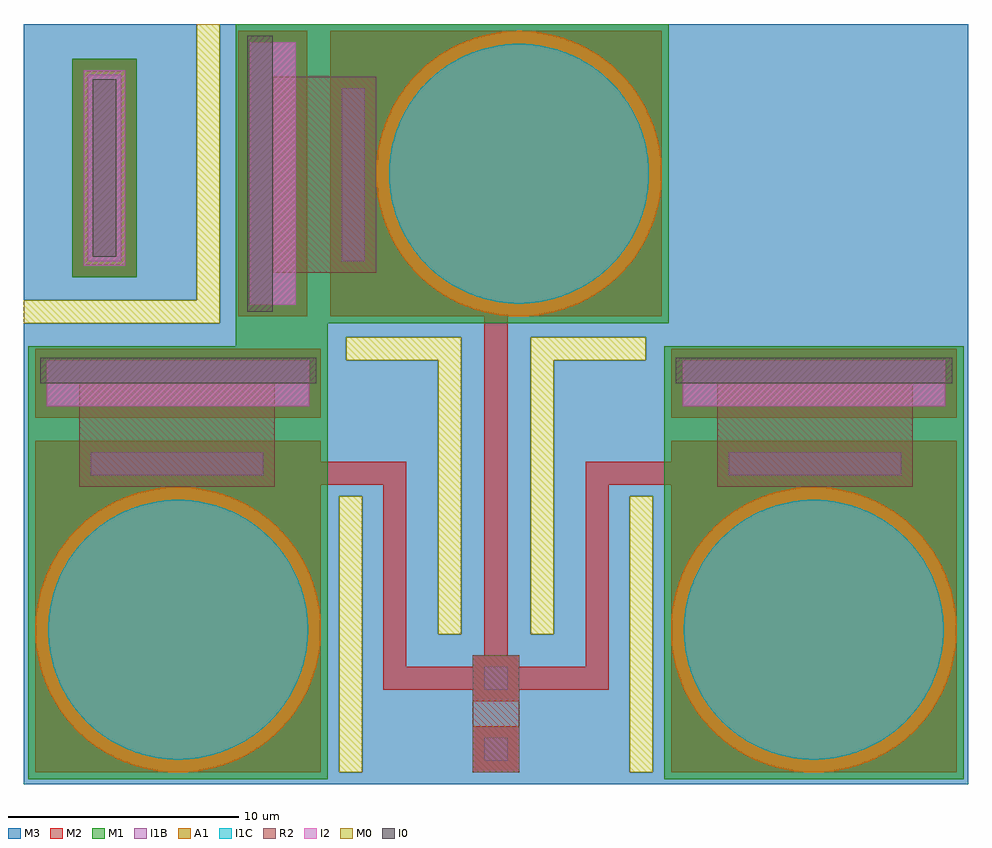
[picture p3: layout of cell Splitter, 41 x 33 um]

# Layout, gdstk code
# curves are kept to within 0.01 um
from math import pi, radians
import gdstk
lib = gdstk.Library(unit=1e-6, precision=1e-09)
def R(c, l, rs):  # rectangles x0, y0, x1, y1
    for r in rs: c.add(gdstk.rectangle(r[:2], r[2:], *l))
def P(c, l, *ps):  # polygons
    for p in ps: c.add(gdstk.Polygon(p, *l))
M1 = (1, 0)
I1B = (3, 0)
I1C = (4, 0)
A1 = (5, 0)
M2 = (6, 0)
I2 = (8, 0)
R2 = (9, 0)
M3 = (10, 0)
M0 = (30, 0)
I0 = (31, 0)

ak_qc1vm2r2_1 = lib.new_cell('ak_qc1vm2r2$1')
R(ak_qc1vm2r2_1, I1B, [(-0.5,-0.5,0.5,0.5)])
R(ak_qc1vm2r2_1, M2, [(-1,-1,1,1)])
R(ak_qc1vm2r2_1, R2, [(-1,-1,1,1)])

ak_qc1p2j000_1 = lib.new_cell('ak_qc1p2j000$1')
P(ak_qc1p2j000_1, I1B, [(0,-5.6),(-0.585,-5.569),(-1.164,-5.478),(-1.73,-5.326),(-2.188,-5.155),(-2.629,-4.945),(-3.131,-4.643),(-3.6,-4.29),(-3.96,-3.96),(-4.29,-3.6),(-4.643,-3.131),(-4.945,-2.629),(-5.155,-2.188),(-5.326,-1.73),(-5.478,-1.164),(-5.569,-0.585),(-5.6,0),(-5.569,0.585),(-5.478,1.164),(-5.326,1.73),(-5.155,2.188),(-4.945,2.629),(-4.643,3.131),(-4.29,3.6),(-3.96,3.96),(-3.6,4.29),(-3.131,4.643),(-2.629,4.945),(-2.188,5.155),(-1.73,5.326),(-1.164,5.478),(-0.585,5.569),(0,5.6),(0.585,5.569),(1.164,5.478),(1.73,5.326),(2.188,5.155),(2.629,4.945),(3.131,4.643),(3.6,4.29),(3.96,3.96),(4.29,3.6),(4.643,3.131),(4.945,2.629),(5.155,2.188),(5.326,1.73),(5.478,1.164),(5.569,0.585),(5.6,0),(5.569,-0.585),(5.478,-1.164),(5.326,-1.73),(5.155,-2.188),(4.945,-2.629),(4.643,-3.131),(4.29,-3.6),(3.96,-3.96),(3.6,-4.29),(3.131,-4.643),(2.629,-4.945),(2.188,-5.155),(1.73,-5.326),(1.164,-5.478),(0.585,-5.569)])
P(ak_qc1p2j000_1, I1C, [(0,-5.642),(-0.59,-5.611),(-1.077,-5.538),(-1.65,-5.395),(-2.113,-5.231),(-2.561,-5.027),(-3.073,-4.732),(-3.551,-4.385),(-3.989,-3.989),(-4.385,-3.551),(-4.732,-3.073),(-5.027,-2.561),(-5.231,-2.113),(-5.395,-1.65),(-5.538,-1.077),(-5.611,-0.59),(-5.642,0),(-5.611,0.59),(-5.538,1.077),(-5.395,1.65),(-5.231,2.113),(-5.027,2.561),(-4.732,3.073),(-4.385,3.551),(-3.989,3.989),(-3.551,4.385),(-3.073,4.732),(-2.561,5.027),(-2.113,5.231),(-1.65,5.395),(-1.077,5.538),(-0.59,5.611),(0,5.642),(0.59,5.611),(1.077,5.538),(1.65,5.395),(2.113,5.231),(2.561,5.027),(3.073,4.732),(3.551,4.385),(3.989,3.989),(4.385,3.551),(4.732,3.073),(5.027,2.561),(5.231,2.113),(5.395,1.65),(5.538,1.077),(5.611,0.59),(5.642,0),(5.611,-0.59),(5.538,-1.077),(5.395,-1.65),(5.231,-2.113),(5.027,-2.561),(4.732,-3.073),(4.385,-3.551),(3.989,-3.989),(3.551,-4.385),(3.073,-4.732),(2.561,-5.027),(2.113,-5.231),(1.65,-5.395),(1.077,-5.538),(0.59,-5.611)])
P(ak_qc1p2j000_1, A1, [(0,-6.2),(-0.648,-6.166),(-1.183,-6.086),(-1.709,-5.96),(-2.323,-5.749),(-2.911,-5.474),(-3.377,-5.2),(-3.902,-4.818),(-4.384,-4.384),(-4.818,-3.902),(-5.2,-3.377),(-5.474,-2.911),(-5.749,-2.323),(-5.96,-1.709),(-6.086,-1.183),(-6.166,-0.648),(-6.2,0),(-6.166,0.648),(-6.086,1.183),(-5.96,1.709),(-5.749,2.323),(-5.474,2.911),(-5.2,3.377),(-4.818,3.902),(-4.384,4.384),(-3.902,4.818),(-3.377,5.2),(-2.911,5.474),(-2.323,5.749),(-1.709,5.96),(-1.183,6.086),(-0.648,6.166),(0,6.2),(0.648,6.166),(1.183,6.086),(1.709,5.96),(2.323,5.749),(2.911,5.474),(3.377,5.2),(3.902,4.818),(4.384,4.384),(4.818,3.902),(5.2,3.377),(5.474,2.911),(5.749,2.323),(5.96,1.709),(6.086,1.183),(6.166,0.648),(6.2,0),(6.166,-0.648),(6.086,-1.183),(5.96,-1.709),(5.749,-2.323),(5.474,-2.911),(5.2,-3.377),(4.818,-3.902),(4.384,-4.384),(3.902,-4.818),(3.377,-5.2),(2.911,-5.474),(2.323,-5.749),(1.709,-5.96),(1.183,-6.086),(0.648,-6.166)])

ak_qc10r24_1 = lib.new_cell('ak_qc10r24$1')
R(ak_qc10r24_1, I1B, [(-4.1,-5.5,4.2,-3.5), (-3.7,-1.5,3.8,-0.5)])
R(ak_qc10r24_1, M2, [(-4.6,-6,4.7,-3), (-4.6,-2,4.7,0)])
R(ak_qc10r24_1, R2, [(-4.2,-4.5,4.3,0)])

ak_qc1p2j000s_1 = lib.new_cell('ak_qc1p2j000s$1')
R(ak_qc1p2j000s_1, M1, [(-6.5,-12.3,6.5,6.5)])
R(ak_qc1p2j000s_1, I1B, [(-5.7,-11.7,5.7,-9.7)])
R(ak_qc1p2j000s_1, M2, [(-6.2,-12.2,6.2,-9.2), (-6.2,-8.2,6.2,6.2)])
ak_qc1p2j000s_1.add(gdstk.Reference(ak_qc1p2j000_1, (0,0)))
ak_qc1p2j000s_1.add(gdstk.Reference(ak_qc10r24_1, (0,-6.2)))

ak_qc1p2j000sgd_1 = lib.new_cell('ak_qc1p2j000sgd$1')
R(ak_qc1p2j000sgd_1, I2, [(-5.7,-11.7,5.7,-9.7)])
R(ak_qc1p2j000sgd_1, M3, [(-6.2,-12.2,6.2,-9.2)])
R(ak_qc1p2j000sgd_1, I0, [(-6,-11.8,6,-10.7)])
ak_qc1p2j000sgd_1.add(gdstk.Reference(ak_qc1p2j000s_1, (0,0)))

splitter = lib.new_cell('Splitter')
R(splitter, M1, [(8.7,11,12.7,12)])
R(splitter, M3, [(-0.5,-8,3.7,12), (24,11.4,26.3,25), (-0.5,13,3.7,25), (3.7,13,7,25)])
P(splitter, M3, [(3.7,-8),(3.7,12),(8,12),(8,25),(13.9,25),(13.9,11.4),(13.5,11.4),(13.5,10.4),(13.9,10.4),(13.9,4.5),(13.2,4.5),(13.2,-7.5),(13.9,-7.5),(13.9,-8)],
  [(13.9,-8),(13.9,-7.5),(14.2,-7.5),(14.2,4.5),(13.9,4.5),(13.9,10.4),(17.5,10.4),(17.5,-1.5),(18.5,-1.5),(18.5,11.4),(13.9,11.4),(13.9,25),(24,25),(24,11.4),(21.5,11.4),(21.5,-1.5),(22.5,-1.5),(22.5,10.4),(24,10.4),(24,-8)],
  [(26.3,-8),(26.3,-7.5),(26.8,-7.5),(26.8,4.5),(26.3,4.5),(26.3,10.4),(26.5,10.4),(26.5,11.4),(26.3,11.4),(26.3,25),(40.5,25),(40.5,-8)],
  [(24,-8),(24,10.4),(26.3,10.4),(26.3,4.5),(25.8,4.5),(25.8,-7.5),(26.3,-7.5),(26.3,-8)])
splitter.add(gdstk.FlexPath([(3,14.7),(3,22.8)], 1.4, ends="flush", simple_path=True, layer=3, datatype=0))  # I1B
splitter.add(gdstk.FlexPath([(20,-4.4),(20,-5.5)], 2, ends="flush", simple_path=True, layer=9, datatype=0))  # R2
splitter.add(gdstk.FlexPath([(3,14),(3,23.5)], 2.8, ends="flush", simple_path=True, layer=6, datatype=0))  # M2
splitter.add(gdstk.FlexPath([(20,-3),(20,12.3)], 1, ends="flush", simple_path=True, layer=6, datatype=0))  # M2
splitter.add(gdstk.FlexPath([(20,-3.4),(15.6,-3.4),(15.6,5.5),(12.4,5.5)], 1, ends="flush", simple_path=True, layer=6, datatype=0))  # M2
splitter.add(gdstk.FlexPath([(20,-3.4),(24.4,-3.4),(24.4,5.5),(27.6,5.5)], 1, ends="flush", simple_path=True, layer=6, datatype=0))  # M2
splitter.add(gdstk.FlexPath([(3,14),(3,23.5)], 2.8, ends="flush", simple_path=True, layer=1, datatype=0))  # M1
splitter.add(gdstk.FlexPath([(3,14),(3,23.5)], 2.8, ends="flush", simple_path=True, layer=10, datatype=0))  # M3
splitter.add(gdstk.FlexPath([(3,14.9),(3,22.6)], 1, ends="flush", simple_path=True, layer=31, datatype=0))  # I0
splitter.add(gdstk.FlexPath([(3,14.5),(3,23)], 1.8, ends="flush", simple_path=True, layer=8, datatype=0))  # I2
splitter.add(gdstk.FlexPath([(-0.5,12.5),(7.5,12.5),(7.5,25)], 1, ends="flush", simple_path=True, layer=30, datatype=0))  # M0
splitter.add(gdstk.FlexPath([(18,-1.5),(18,10.9),(13.5,10.9)], 1, ends="flush", simple_path=True, layer=30, datatype=0))  # M0
splitter.add(gdstk.FlexPath([(22,-1.5),(22,10.9),(26.5,10.9)], 1, ends="flush", simple_path=True, layer=30, datatype=0))  # M0
splitter.add(gdstk.FlexPath([(13.7,-7.5),(13.7,4.5)], 1, ends="flush", simple_path=True, layer=30, datatype=0))  # M0
splitter.add(gdstk.FlexPath([(26.3,-7.5),(26.3,4.5)], 1, ends="flush", simple_path=True, layer=30, datatype=0))  # M0
splitter.add(gdstk.Reference(ak_qc1vm2r2_1, (20,-6.5)))
splitter.add(gdstk.Reference(ak_qc1vm2r2_1, (20,-3.4)))
splitter.add(gdstk.Reference(ak_qc1p2j000sgd_1, (21,18.5), rotation=3*pi/2))
splitter.add(gdstk.Reference(ak_qc1p2j000sgd_1, (33.8,-1.3), x_reflection=True))
splitter.add(gdstk.Reference(ak_qc1p2j000sgd_1, (6.2,-1.3), rotation=pi))

lib.write_gds('Splitter.gds')
